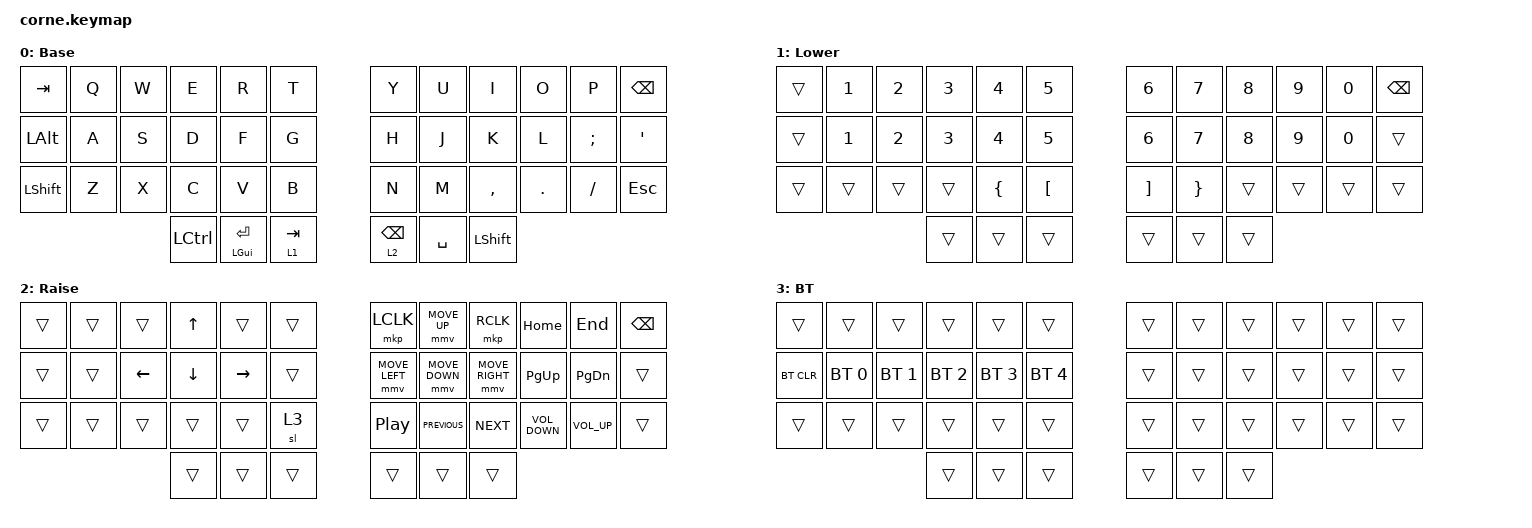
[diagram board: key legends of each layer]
/*
 * Copyright (c) 2020 The ZMK Contributors
 *
 * SPDX-License-Identifier: MIT
 */

#include <behaviors.dtsi>
#include <dt-bindings/zmk/keys.h>
#include <dt-bindings/zmk/bt.h>
#include <dt-bindings/zmk/pointing.h>

/ {
        keymap {
                compatible = "zmk,keymap";

                default_layer {
// -----------------------------------------------------------------------------------------
// | TAB  |  Q  |  W  |  E  |  R  |  T  |   |  Y  |  U   |  I  |  O  |  P  | BKSP |
// | ALT  |  A  |  S  |  D  |  F  |  G  |   |  H  |  J   |  K  |  L  |  ;  |  '   |
// | SHFT |  Z  |  X  |  C  |  V  |  B  |   |  N  |  M   |  ,  |  .  |  /  | ESC  |
//       | CTRL | GUI/ENTER | lower/TAB |   | raise/DEL | SPACE  | SHFT |
                        display-name = "Base";
                        bindings = <
   &kp TAB   &kp Q &kp W &kp E &kp R &kp T   &kp Y &kp U  &kp I     &kp O   &kp P    &kp BSPC
   &kp LALT &kp A &kp S &kp D &kp F &kp G   &kp H &kp J  &kp K     &kp L   &kp SEMI &kp SQT
   &kp LSHFT &kp Z &kp X &kp C &kp V &kp B   &kp N &kp M  &kp COMMA &kp DOT &kp FSLH &kp ESC
        &kp LCTRL &mt LGUI RET &lt 1 TAB   &lt 2 BSPC &kp SPACE &kp LSHIFT
                        >;
                };
                lower_layer {
// -----------------------------------------------------------------------------------------
// |      |  1  |  2  |  3  |  4  |  5  |   |  6  |  7  |  8  |  9  |  0  | BKSP |
// |      |  1  |  2  |  3  |  4  |  5  |   |  6  |  7  |  8  |  9  |  0  |      |
// |      |     |     |     |  {  |  [  |   |  ]  |  }  |     |     |     |      |
//                    |     |     |     |   |     |     |     |
                        display-name = "Lower";
                        bindings = <
   &trans   &kp N1   &kp N2   &kp N3   &kp N4   &kp N5    &kp N6   &kp N7   &kp N8 &kp N9    &kp N0 &kp BSPC
   &trans   &kp N1   &kp N2   &kp N3   &kp N4   &kp N5    &kp N6   &kp N7   &kp N8 &kp N9    &kp N0 &trans
   &trans   &trans   &trans   &trans   &kp LBRC &kp LBKT  &kp RBKT &kp RBRC &trans &trans    &trans &trans
                          &trans   &trans   &trans        &trans   &trans   &trans
                        >;
                };
                raise_layer {
// -----------------------------------------------------------------------------------------
// |      |     |     |  UP |     |     |   | LCLK| MUP | RCLK| Home| End | BKSP |
// |      |     | LEFT| DOWN|RIGHT|     |   |MLEFT| MDN |MRGHT| PgUp| PgDn|      |
// |      |     |     |     |     |  BT |   |PlayP| Prev| Next|VolDn|VolUp|      |
//                    |     |     |     |   |     |     |     |
                        display-name = "Raise";
                        bindings = <
   &trans  &trans &trans &kp UP &trans &trans          &mkp LCLK &mmv MOVE_UP  &mkp RCLK &kp HOME &kp END &kp BSPC
   &trans  &trans &kp LEFT &kp DOWN &kp RIGHT &trans   &mmv MOVE_LEFT   &mmv MOVE_DOWN &mmv MOVE_RIGHT &kp PAGE_UP &kp PAGE_DOWN &trans
   &trans  &trans &trans &trans   &trans   &sl 3       &kp C_PLAY_PAUSE &kp C_PREVIOUS  &kp C_NEXT  &kp C_VOLUME_DOWN &kp C_VOLUME_UP &trans
                    	     &trans &trans   &trans    &trans   &trans    &trans
                        >;
                };
                bluetooth_layer {
// -----------------------------------------------------------------------------------------
// |      |     |     |     |     |     |   |     |     |     |     |     |      |
// |  CLR |  1  |  2  |  3  |  4  |  5  |   |     |     |     |     |     |      |
// |      |     |     |     |     |     |   |     |     |     |     |     |      |
//                    |     |     |     |   |     |     |     |
                        display-name = "BT";
                        bindings = <
   &trans  &trans &trans &trans &trans &trans                   &trans &trans  &trans &trans &trans &trans
   &bt BT_CLR  &bt BT_SEL 0 &bt BT_SEL 1 &bt BT_SEL 2 &bt BT_SEL 3 &bt BT_SEL 4   &trans &trans  &trans &trans &trans &trans
   &trans  &trans &trans &trans &trans &trans                   &trans &trans  &trans  &trans &trans &trans
                         &trans &trans &trans                   &trans   &trans    &trans
                        >;
                };

                extra_2 {
                        status = "reserved";
                };

                extra_3 {
                        status = "reserved";
                };
        };
};
